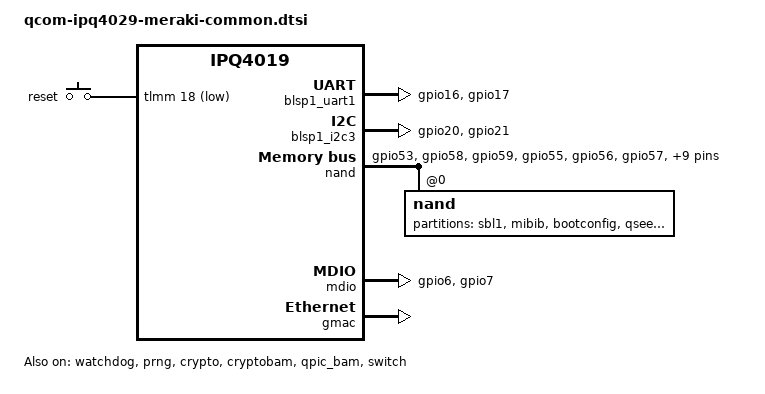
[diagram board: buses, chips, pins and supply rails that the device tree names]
// SPDX-License-Identifier: GPL-2.0-only
/*
 * Device Tree Source for Meraki devices
 *
 * Copyright (C) 2017 Chris Blake <chrisrblake93@gmail.com>
 * Copyright (C) 2017 Christian Lamparter <chunkeey@googlemail.com>
 * Copyright (C) 2025 Hal Martin <halmartin@googlemail.com>
 *
 * Based on Cisco Meraki DTS from GPL release r25-linux-3.14-20170427
 *
 * This file is licensed under the terms of the GNU General Public
 * License version 2.  This program is licensed "as is" without
 * any warranty of any kind, whether express or implied.
 */

#include "qcom-ipq4019.dtsi"
#include <dt-bindings/gpio/gpio.h>
#include <dt-bindings/input/input.h>
#include <dt-bindings/soc/qcom,tcsr.h>
#include <dt-bindings/leds/common.h>

/ {
	soc {
		/* It is a 56-bit counter that supplies the count to the ARM arch
		   timers and without upstream driver */
		counter@4a1000 {
			compatible = "qcom,qca-gcnt";
			reg = <0x4a1000 0x4>;
		};

		ess_tcsr@1953000 {
			compatible = "qcom,tcsr";
			reg = <0x1953000 0x1000>;
		};

		tcsr@1949000 {
			compatible = "qcom,tcsr";
			reg = <0x1949000 0x100>;
			qcom,wifi_glb_cfg = <TCSR_WIFI_GLB_CFG>;
		};

		tcsr@1957000 {
			compatible = "qcom,tcsr";
			reg = <0x1957000 0x100>;
			qcom,wifi_noc_memtype_m0_m2 = <TCSR_WIFI_NOC_MEMTYPE_M0_M2>;
		};
	};

	keys {
		compatible = "gpio-keys";

		reset {
			label = "reset";
			gpios = <&tlmm 18 GPIO_ACTIVE_LOW>;
			linux,code = <KEY_RESTART>;
		};
	};
};

&watchdog {
	status = "okay";
};

&prng {
	status = "okay";
};

&crypto {
	status = "okay";
};

&blsp_dma {
	status = "okay";
};

&blsp1_uart1 {
	pinctrl-0 = <&serial_0_pins>;
	pinctrl-names = "default";
	status = "okay";
};

&cryptobam {
	status = "okay";
};

&blsp1_i2c3 {
	pinctrl-0 = <&i2c_0_pins>;
	pinctrl-names = "default";
	status = "okay";
};

&nand {
	pinctrl-0 = <&nand_pins>;
	pinctrl-names = "default";
	status = "okay";

	nand@0 {
		partitions {
			compatible = "fixed-partitions";
			#address-cells = <1>;
			#size-cells = <1>;

			partition@0 {
				label = "sbl1";
				reg = <0x00000000 0x00100000>;
				read-only;
			};
			partition@100000 {
				label = "mibib";
				reg = <0x00100000 0x00100000>;
				read-only;
			};
			partition@200000 {
				label = "bootconfig";
				reg = <0x00200000 0x00100000>;
				read-only;
			};
			partition@300000 {
				label = "qsee";
				reg = <0x00300000 0x00100000>;
				read-only;
			};
			partition@400000 {
				label = "qsee_alt";
				reg = <0x00400000 0x00100000>;
				read-only;
			};
			partition@500000 {
				label = "cdt";
				reg = <0x00500000 0x00080000>;
				read-only;
			};
			partition@580000 {
				label = "cdt_alt";
				reg = <0x00580000 0x00080000>;
				read-only;
			};
			partition@600000 {
				label = "ddrparams";
				reg = <0x00600000 0x00080000>;
				read-only;
			};
			partition@700000 {
				label = "u-boot";
				reg = <0x00700000 0x00200000>;
				read-only;
			};
			partition@900000 {
				label = "u-boot-backup";
				reg = <0x00900000 0x00200000>;
				read-only;
			};
			partition@b00000 {
				label = "ART";
				reg = <0x00b00000 0x00080000>;
				read-only;
			};
			partition@c00000 {
				label = "ubi";
				reg = <0x00c00000 0x07000000>;
				/*
				 * Do not try to allocate the remaining
				 * 4 MiB to this ubi partition. It will
				 * confuse the u-boot and it might not
				 * find the kernel partition anymore.
				 */
				volumes {
					ubi_art: ubi-volume-art {
						volname = "ART";
					};
				};
			};
		};
	};
};

&pcie0 {
	status = "disabled";
	perst-gpios = <&tlmm 38 GPIO_ACTIVE_LOW>;
	wake-gpios = <&tlmm 50 GPIO_ACTIVE_LOW>;
};

&ubi_art {
	nvmem-layout {
		compatible = "fixed-layout";
		#address-cells = <1>;
		#size-cells = <1>;

		precal_factory_1000: precal@1000 {
			reg = <0x1000 0x2f20>;
		};

		precal_factory_5000: precal@5000 {
			reg = <0x5000 0x2f20>;
		};

		cal_factory_9000: cal@9000 {
			reg = <0x9000 0x844>;
		};
	};
};

&qpic_bam {
	status = "okay";
};

&tlmm {
	mdio_pins: mdio_pinmux {
		mux_1 {
			pins = "gpio6";
			function = "mdio";
			bias-pull-up;
		};
		mux_2 {
			pins = "gpio7";
			function = "mdc";
			bias-pull-up;
		};
	};

	serial_0_pins: serial_pinmux {
		mux {
			pins = "gpio16", "gpio17";
			function = "blsp_uart0";
			bias-disable;
		};
	};

	serial_1_pins: serial1_pinmux {
		mux {
			/* We use the i2c-0 pins for serial_1 */
			pins = "gpio8", "gpio9";
			function = "blsp_uart1";
			bias-disable;
		};
	};

	i2c_0_pins: i2c_0_pinmux {
		function = "blsp_i2c0";
		pins = "gpio20", "gpio21";
		drive-strength = <16>;
		bias-disable;
	};

	i2c_1_pins: i2c_1_pinmux {
		function = "blsp_i2c1";
		pins = "gpio34", "gpio35";
		drive-strength = <16>;
		bias-disable;
	};

	nand_pins: nand_pins {
		/*
		 * There are 18 pins. 15 pins are common between LCD and NAND.
		 * The QPIC controller arbitrates between LCD and NAND. Of the
		 * remaining 4, 2 are for NAND and 2 are for LCD exclusively.
		 *
		 * The meraki source hints that the bluetooth module claims
		 * pin 52 as well. But sadly, there's no data whenever this
		 * is a NAND or LCD exclusive pin or not.
		 */

		pullups {
			pins = "gpio53", "gpio58", "gpio59";
			function = "qpic";
			bias-pull-up;
		};

		pulldowns {
			pins = "gpio55", "gpio56", "gpio57",
				"gpio60", "gpio62", "gpio63",
				"gpio64", "gpio65", "gpio66",
				"gpio67", "gpio68", "gpio69";
			function = "qpic";
			bias-pull-down;
		};
	};
};

&mdio {
	status = "okay";
	pinctrl-0 = <&mdio_pins>;
	pinctrl-names = "default";
};

&switch {
	status = "okay";
};

&gmac {
	status = "okay";
	nvmem-cells = <&mac_address 0>;
	nvmem-cell-names = "mac-address";
};

&wifi0 {
	status = "disabled";
	nvmem-cells = <&mac_address 2>, <&precal_factory_1000>;
	nvmem-cell-names = "mac-address", "pre-calibration";
};

&wifi1 {
	status = "disabled";
	nvmem-cells = <&mac_address 3>, <&precal_factory_5000>;
	nvmem-cell-names = "mac-address", "pre-calibration";
};
